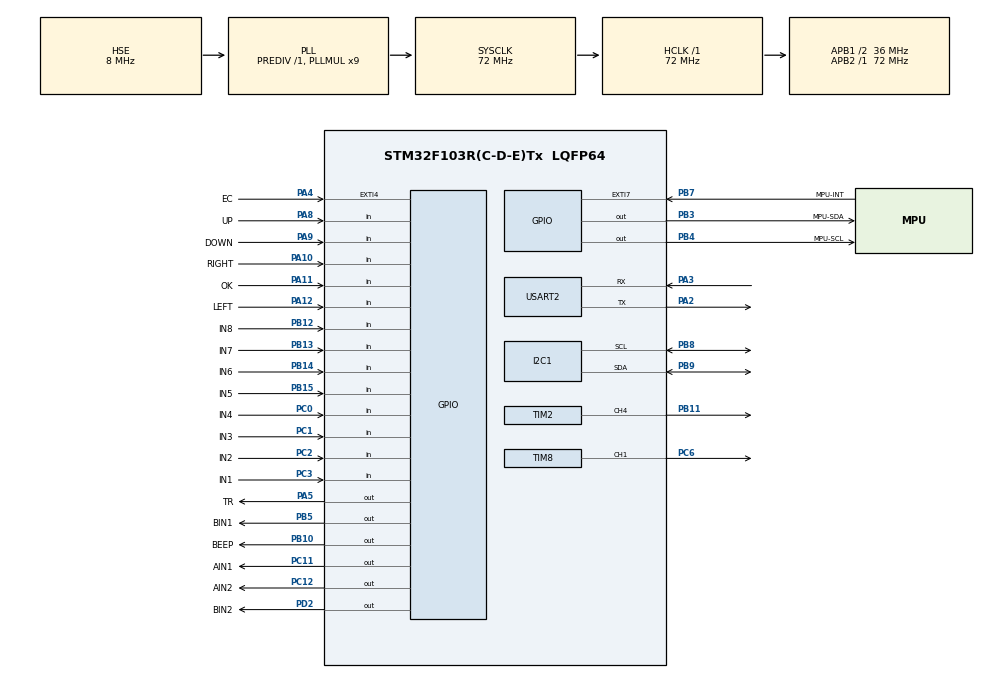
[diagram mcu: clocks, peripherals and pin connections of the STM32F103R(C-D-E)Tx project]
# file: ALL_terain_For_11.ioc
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Mcu.Family=STM32F1
Mcu.Name=STM32F103R(C-D-E)Tx
Mcu.Package=LQFP64
NVIC.EXTI4_IRQn=true\:0\:0\:false\:false\:true\:true\:true\:true
NVIC.EXTI9_5_IRQn=true\:0\:0\:false\:false\:true\:true\:true\:true
NVIC.PriorityGroup=NVIC_PRIORITYGROUP_4
NVIC.TIM4_IRQn=true\:5\:0\:true\:false\:true\:true\:true\:true
PA10.GPIO_Label=RIGHT
PA10.GPIO_PuPd=GPIO_PULLUP
PA10.Signal=GPIO_Input
PA11.GPIO_Label=OK
PA11.GPIO_PuPd=GPIO_PULLUP
PA11.Signal=GPIO_Input
PA12.GPIO_Label=LEFT
PA12.GPIO_PuPd=GPIO_PULLUP
PA12.Signal=GPIO_Input
PA13.Mode=Serial_Wire
PA13.Signal=SYS_JTMS-SWDIO
PA14.Mode=Serial_Wire
PA14.Signal=SYS_JTCK-SWCLK
PA2.Mode=Asynchronous
PA2.Signal=USART2_TX
PA3.Mode=Asynchronous
PA3.Signal=USART2_RX
PA4.GPIO_Label=EC
PA4.GPIO_ModeDefaultEXTI=GPIO_MODE_IT_RISING_FALLING
PA4.Signal=GPXTI4
PA5.GPIO_Label=TR
PA5.GPIO_Speed=GPIO_SPEED_FREQ_HIGH
PA5.Signal=GPIO_Output
PA8.GPIO_Label=UP
PA8.GPIO_PuPd=GPIO_PULLUP
PA8.Signal=GPIO_Input
PA9.GPIO_Label=DOWN
PA9.GPIO_PuPd=GPIO_PULLUP
PA9.Signal=GPIO_Input
PB10.GPIO_Label=BEEP
PB10.Signal=GPIO_Output
PB11.Signal=S_TIM2_CH4
PB12.GPIO_Label=IN8
PB12.Signal=GPIO_Input
PB13.GPIO_Label=IN7
PB13.Signal=GPIO_Input
PB14.GPIO_Label=IN6
PB14.Signal=GPIO_Input
PB15.GPIO_Label=IN5
PB15.Signal=GPIO_Input
PB3.GPIO_Label=MPU-SDA
PB3.GPIO_ModeDefaultOutputPP=GPIO_MODE_OUTPUT_OD
PB3.GPIO_Speed=GPIO_SPEED_FREQ_HIGH
PB3.PinState=GPIO_PIN_SET
PB3.Signal=GPIO_Output
PB4.GPIO_Label=MPU-SCL
PB4.GPIO_ModeDefaultOutputPP=GPIO_MODE_OUTPUT_OD
PB4.GPIO_Speed=GPIO_SPEED_FREQ_HIGH
PB4.PinState=GPIO_PIN_SET
PB4.Signal=GPIO_Output
PB5.GPIO_Label=BIN1
PB5.Signal=GPIO_Output
PB7.GPIO_Label=MPU-INT
PB7.GPIO_PuPd=GPIO_PULLUP
PB7.Signal=GPXTI7
PB8.Mode=I2C
PB8.Signal=I2C1_SCL
PB9.Mode=I2C
PB9.Signal=I2C1_SDA
PC0.GPIO_Label=IN4
PC0.Signal=GPIO_Input
PC1.GPIO_Label=IN3
PC1.Signal=GPIO_Input
PC11.GPIO_Label=AIN1
PC11.Signal=GPIO_Output
PC12.GPIO_Label=AIN2
PC12.Signal=GPIO_Output
PC2.GPIO_Label=IN2
PC2.Signal=GPIO_Input
PC3.GPIO_Label=IN1
PC3.Signal=GPIO_Input
PC6.Signal=S_TIM8_CH1
PD0-OSC_IN.Mode=HSE-External-Oscillator
PD0-OSC_IN.Signal=RCC_OSC_IN
PD1-OSC_OUT.Mode=HSE-External-Oscillator
PD1-OSC_OUT.Signal=RCC_OSC_OUT
PD2.GPIO_Label=BIN2
PD2.Signal=GPIO_Output
ProjectManager.HeapSize=0x200
ProjectManager.StackSize=0x400
ProjectManager.TargetToolchain=MDK-ARM V5.32
RCC.AHBFreq_Value=72000000
RCC.APB1CLKDivider=RCC_HCLK_DIV2
RCC.APB1Freq_Value=36000000
RCC.APB1TimFreq_Value=72000000
RCC.APB2Freq_Value=72000000
RCC.APB2TimFreq_Value=72000000
RCC.HCLKFreq_Value=72000000
RCC.PLLMUL=RCC_PLL_MUL9
RCC.PLLSourceVirtual=RCC_PLLSOURCE_HSE
RCC.SYSCLKFreq_VALUE=72000000
RCC.SYSCLKSource=RCC_SYSCLKSOURCE_PLLCLK
RCC.USBFreq_Value=72000000
SH.S_TIM2_CH4.0=TIM2_CH4,PWM Generation4 CH4
SH.S_TIM8_CH1.0=TIM8_CH1,PWM Generation1 CH1
TIM2.AutoReloadPreload=TIM_AUTORELOAD_PRELOAD_ENABLE
TIM2.Channel-PWM\ Generation4\ CH4=TIM_CHANNEL_4
TIM2.ClockDivision=TIM_CLOCKDIVISION_DIV1
TIM2.Period=1000-1
TIM2.Prescaler=72-1
TIM2.Pulse-PWM\ Generation4\ CH4=0
TIM4.AutoReloadPreload=TIM_AUTORELOAD_PRELOAD_ENABLE
TIM4.Period=10000-1
TIM4.Prescaler=71
TIM8.AutoReloadPreload=TIM_AUTORELOAD_PRELOAD_ENABLE
TIM8.Channel-PWM\ Generation1\ CH1=TIM_CHANNEL_1
TIM8.OCPolarity_1=TIM_OCPOLARITY_HIGH
TIM8.Period=1000-1
TIM8.Prescaler=72-1
USART2.VirtualMode=VM_ASYNC
VP_TIM2_VS_ClockSourceINT.Mode=Internal
VP_TIM4_VS_ClockSourceINT.Mode=Internal
VP_TIM8_VS_ClockSourceINT.Mode=Internal
board=custom

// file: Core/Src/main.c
/* USER CODE BEGIN Header */
/**
  ******************************************************************************
  * @file           : main.c
  * @brief          : Main program body
  ******************************************************************************
  * @attention
  *
  * Copyright (c) 2026 STMicroelectronics.
  * All rights reserved.
  *
  * This software is licensed under terms that can be found in the LICENSE file
  * in the root directory of this software component.
  * If no LICENSE file comes with this software, it is provided AS-IS.
  *
  ******************************************************************************
  */
/* USER CODE END Header */
#include "main.h"
#include "i2c.h"
#include "tim.h"
#include "usart.h"
#include "gpio.h"

/* USER CODE BEGIN Includes */
#include <stdio.h>
#include "motor.h"
#include "Int_Track.h"
#include "Track_Task.h"
#include "Mode_FSM.h"
#include "Route.h"
#include "IMU_Task.h"
#include "Int_OLED.h"
#include "Debug_Log.h"
#include "Delay_us.h"
#include "Int_MPU6050.h"
#include "Attitude.h"
#include "Int_Beep.h"
#include "Int_SR04.h"
/* USER CODE END Includes */

/* USER CODE BEGIN PD */

/* 启动优先级：纯循迹测试 > IMU 直行测试 > 默认自动路线。 */
#define TRACK_ONLY_TEST_ENABLE    0u     /* 1：测普通道路和 U 型隧道；0：按下面的开关启动 */
#define IMU_STRAIGHT_TEST_ENABLE  0u     /* 1：启动 IMU 直行测试，方向由 PWM 正负决定；两个开关均 0 时启动路线 */
#define IMU_STRAIGHT_TEST_PWM     -400    /* 正数前进，负数倒车，零停车；幅度范围 1～1000，负数不要加 u 后缀 */
#define IMU_STRAIGHT_TEST_MS      20000u  /* 仅对前进生效；接受请求后计时，到时 TEST_DONE 停车，倒车不使用此限时 */

/* USER CODE END PD */

/* USER CODE BEGIN PV */

//电机对象
  extern Motor_Struct motorLeft;
  extern Motor_Struct motorRight;

//循迹数组
extern uint16_t g_sensor_data[GRAYSCALE_SENSOR_CHANNELS];

/* g_imu_data / g_imu_ready 已移至 Int_MPU6050 模块，TIM4 中断里更新 */

/* 运动与日志由 TIM4 更新；DebugLog_Display 在主循环复制完整快照并显示。 */

/* 主循环更新，通信状态可在调试器中直接查看。 */
static volatile OLED_Status g_oled_status = OLED_NOT_INITIALIZED;

/* USER CODE END PV */

void SystemClock_Config(void);

int main(void)
{

  /* USER CODE BEGIN 1 */

  uint8_t imu_calibrated = 0u;

  /* USER CODE END 1 */

  /* MCU Configuration--------------------------------------------------------*/

  /* Reset of all peripherals, Initializes the Flash interface and the Systick. */
  HAL_Init();

  /* Configure the system clock */
  SystemClock_Config();

  /* USER CODE BEGIN SysInit */
  Delay_Init();   /* 使能 DWT CYCCNT，软件 IIC 依赖 */
  /* USER CODE END SysInit */

  /* Initialize all configured peripherals */
  MX_GPIO_Init();
  MX_I2C1_Init();
  MX_TIM2_Init();
  MX_TIM8_Init();
  MX_TIM4_Init();
  MX_USART2_UART_Init();
  /* USER CODE BEGIN 2 */
  Int_SR04_Init();  /* 初始化超声波底层；复用 DWT 和 PA4/PA5，测距由调用者按需触发。 */
  /* 软件 IIC 的 SDA/SCL 已在 MX_GPIO_Init() 中释放为高，此处不重复 */

  /* OLED 失败只记录状态，后续在主循环重试，不中止控制系统初始化。 */
  g_oled_status = OLED_Init();
  uint8_t oled_ready = (g_oled_status == OLED_OK) ? 1U : 0U;

  //电机对象初始化
  Motor_Init(&motorLeft);
  Motor_Init(&motorRight);

  line_following_init(&g_line_controller); //循迹初始化

  ModeFSM_Init();                          /* 初始化为停车，明确选择测试或有效路线段后才能运行。 */

  #if TRACK_ONLY_TEST_ENABLE || IMU_STRAIGHT_TEST_ENABLE
  Route_Enable(0u);                        /* 测试期间只保留灰度检测，不安排自动路线动作。 */
  #endif

  IMUTask_Init();                          //IMU 角度闭环 PID 初始化

  g_imu_ready = Int_MPU6050_Init();         //获取IMU状态
  if (g_imu_ready)
  {
    HAL_Delay(50);                /* 等传感器输出稳定 */
    imu_calibrated = Int_MPU6050_Calibrate(100);
    #if !TRACK_ONLY_TEST_ENABLE
    /* 控制定时器尚未启动，电机保持停车。静止超时后立即开始新一轮，
     * 每轮重新累计连续 100 帧并采样；通信失败则等待 50ms，避免快速重复访问总线。
     * 纯循迹测试仍只尝试一次，不因 IMU 校准失败阻止其启动。 */
    while (imu_calibrated == 0u)
    {
        if (Int_MPU6050_CalibrationTimedOut() != 0u)
        {
            DebugLog_Write(LOG_WARN, "CAL_RETRY");
        }
        else
        {
            DebugLog_Write(LOG_ERROR, "CAL_I2C");
            HAL_Delay(50);
        }
        imu_calibrated = Int_MPU6050_Calibrate(100);
    }
    #endif
    if (imu_calibrated != 0u) {   /* 校准成功才响，随后只启动一次原有行驶流程。 */
        Int_Beep_On();
        HAL_Delay(200);
        Int_Beep_Off();
    }
    Attitude_Init();              /* 四元数复位，姿态归零 */
  }

  #if TRACK_ONLY_TEST_ENABLE
  Car_Track();                    /* 只提交一次，由 TIM4 持续执行灰度循迹 PID，不受 IMU 校准结果限制。 */
  DebugLog_Write(LOG_INFO, "TRACK_TEST");
  #elif IMU_STRAIGHT_TEST_ENABLE
  if (imu_calibrated != 0u && g_imu_ready != 0u)
  {
    /* 根据基础 PWM 的符号只提交一次动作，TIM4 持续执行 IMU 航向闭环。
     * 前进沿用原有限时接口；倒车接口接收正值幅度，由内部取负，持续到停车请求或故障。 */
    #if IMU_STRAIGHT_TEST_PWM > 0
    Car_ImuForwardTimed(IMU_STRAIGHT_TEST_PWM, IMU_STRAIGHT_TEST_MS);
    #elif IMU_STRAIGHT_TEST_PWM < 0
    Car_Reverse(-IMU_STRAIGHT_TEST_PWM);
    #else
    Car_Stop();                   /* PWM 为零时明确停车，不提交非法的零幅度运动请求。 */
    #endif
    DebugLog_Write(LOG_INFO, "IMU_TEST");
  }
  else
  {
    DebugLog_Write(LOG_ERROR, g_imu_ready != 0u ? "CAL_FAIL" : "IMU_INIT");
    Car_Stop();                   /* 初始化或校准失败时，阻止默认循迹开始运动。 */
  }
#else
  if (imu_calibrated != 0u && g_imu_ready != 0u)
  {
    (void)Route_Start();          /* 检查本次调试范围；从 ROUTE_START_STEP 对应项目的触发路口前循迹出发。 */
  }
  else
  {
    DebugLog_Write(LOG_ERROR, g_imu_ready != 0u ? "CAL_FAIL" : "IMU_INIT");
    Car_Stop();
  }
#endif

HAL_TIM_Base_Start_IT(&htim4);   /* 启动唯一的 10 ms ModeFSM_Tick 控制入口 */

  if (oled_ready != 0U)
  {
    g_oled_status = DebugLog_Display();
    oled_ready = (g_oled_status == OLED_OK) ? 1U : 0U;
  }
  /* USER CODE END 2 */

  /* Infinite loop */
  /* USER CODE BEGIN WHILE */
  uint32_t last_imu_retry_ms = HAL_GetTick();
  uint32_t last_oled_retry_ms = HAL_GetTick();
  uint32_t last_print_ms = HAL_GetTick();  /* 欧拉角串口输出计时，每 100 ms 打印一次。 */
  while (1)
  {
    Route_ServiceSonar(); /* 仅第 12、17 项后的超声波阶段发起测量，其余阶段直接返回。 */

    /* 各运动模式均由 TIM4 持续采样；通信失败后前台每 1s 重试，故障不会自动恢复运动。 */
    if (g_imu_ready == 0U &&
        (uint32_t)(HAL_GetTick() - last_imu_retry_ms) >= 1000U)
    {
      last_imu_retry_ms = HAL_GetTick();
      g_imu_ready = Int_MPU6050_Init();
    }

    /* 每 100 ms 在前台打印同一控制帧的 yaw、pitch、roll，单位为度，保留两位小数。
     * 临界区只复制数据，恢复中断后再格式化和发送，避免阻塞 10 ms 控制。 */
    if ((uint32_t)(HAL_GetTick() - last_print_ms) >= 100U)
    {
      Euler_struct euler_snapshot;
      uint8_t imu_valid;
      uint32_t saved_primask = __get_PRIMASK();
      last_print_ms = HAL_GetTick();

      __disable_irq();
      euler_snapshot = g_euler;
      imu_valid = g_mode_fsm.imu_valid;
      __set_PRIMASK(saved_primask);

      // if (imu_valid != 0u)
      // {
      //   printf("Yaw:%.2f,%.2f,%.2f\r\n",
      //         euler_snapshot.yaw,
      //         euler_snapshot.pitch,
      //         euler_snapshot.roll);
      // }
      // else
      // {
      //   /* 本帧姿态无效时输出占位符，不能把保留值当成实时测量。 */
      //   printf("Yaw:-- Pitch:-- Roll:--\r\n");
      // }
    }

    /* USER CODE END WHILE */

    /* USER CODE BEGIN 3 */
    /* OLED 初始化失败后每 1s 重试，成功后重绘全部八行并保留日志。 */
    if (oled_ready == 0U &&
        (uint32_t)(HAL_GetTick() - last_oled_retry_ms) >= 1000U)
    {
      last_oled_retry_ms = HAL_GetTick();
      g_oled_status = OLED_Init();
      if (g_oled_status == OLED_OK)
      {
        oled_ready = 1U;
        g_oled_status = DebugLog_Display();
        oled_ready = (g_oled_status == OLED_OK) ? 1U : 0U;
      }
    }

    /* 每 100 ms 显示五行状态与三条最近日志；通信失败转入一秒重连流程。 */
    static uint32_t last_oled_ms = 0;
    if (oled_ready != 0U &&
        (uint32_t)(HAL_GetTick() - last_oled_ms) >= 100U)
    {
      last_oled_ms = HAL_GetTick();
      /* 临界区只复制现场；八行格式化和 I2C 刷新由日志模块在前台完成。 */
      g_oled_status = DebugLog_Display();
      if (g_oled_status != OLED_OK)
      {
        /* 刷新失败也进入一秒重连流程，OLED 重新上电后需要恢复初始化命令。 */
        oled_ready = 0U;
        last_oled_retry_ms = HAL_GetTick();
      }
    }
  }
  /* USER CODE END 3 */
}

void SystemClock_Config(void)
{
  RCC_OscInitTypeDef RCC_OscInitStruct = {0};
  RCC_ClkInitTypeDef RCC_ClkInitStruct = {0};

  /** Initializes the RCC Oscillators according to the specified parameters
  * in the RCC_OscInitTypeDef structure.
  */
  RCC_OscInitStruct.OscillatorType = RCC_OSCILLATORTYPE_HSE;
  RCC_OscInitStruct.HSEState = RCC_HSE_ON;
  RCC_OscInitStruct.HSEPredivValue = RCC_HSE_PREDIV_DIV1;
  RCC_OscInitStruct.HSIState = RCC_HSI_ON;
  RCC_OscInitStruct.PLL.PLLState = RCC_PLL_ON;
  RCC_OscInitStruct.PLL.PLLSource = RCC_PLLSOURCE_HSE;
  RCC_OscInitStruct.PLL.PLLMUL = RCC_PLL_MUL9;
  if (HAL_RCC_OscConfig(&RCC_OscInitStruct) != HAL_OK)
  {
    Error_Handler();
  }

  /** Initializes the CPU, AHB and APB buses clocks
  */
  RCC_ClkInitStruct.ClockType = RCC_CLOCKTYPE_HCLK|RCC_CLOCKTYPE_SYSCLK
                              |RCC_CLOCKTYPE_PCLK1|RCC_CLOCKTYPE_PCLK2;
  RCC_ClkInitStruct.SYSCLKSource = RCC_SYSCLKSOURCE_PLLCLK;
  RCC_ClkInitStruct.AHBCLKDivider = RCC_SYSCLK_DIV1;
  RCC_ClkInitStruct.APB1CLKDivider = RCC_HCLK_DIV2;
  RCC_ClkInitStruct.APB2CLKDivider = RCC_HCLK_DIV1;

  if (HAL_RCC_ClockConfig(&RCC_ClkInitStruct, FLASH_LATENCY_2) != HAL_OK)
  {
    Error_Handler();
  }
}

void Error_Handler(void)
{
  __disable_irq();
  while (1)
  {
  }
}
